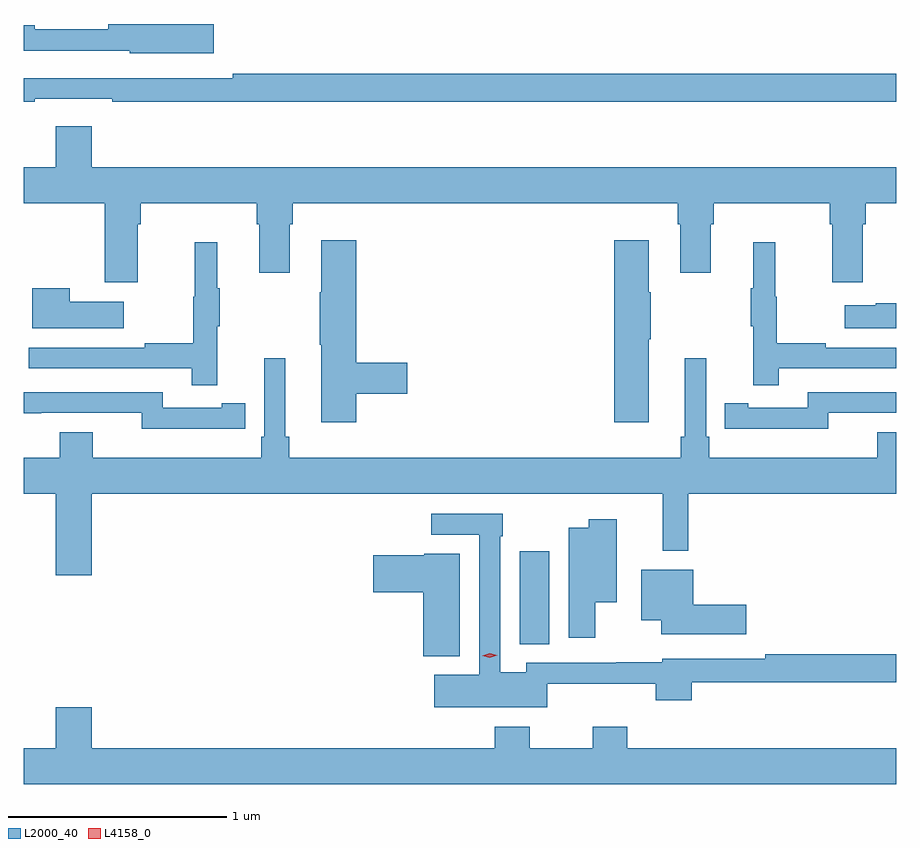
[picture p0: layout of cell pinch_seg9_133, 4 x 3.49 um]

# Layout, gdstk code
import gdstk
lib = gdstk.Library(unit=1e-6, precision=1e-09)
def R(c, l, rs):  # rectangles x0, y0, x1, y1
    for r in rs: c.add(gdstk.rectangle(r[:2], r[2:], *l))
def P(c, l, *ps):  # polygons
    for p in ps: c.add(gdstk.Polygon(p, *l))
L2000_40 = (2000, 40)
L4158_0 = (4158, 0)

pinch_seg9_133 = lib.new_cell('pinch_seg9_133')
R(pinch_seg9_133, L2000_40, [(778.523,1217.041,778.66,1217.467)])
P(pinch_seg9_133, L2000_40, [(777.121,1219.886),(776.636,1219.886),(776.636,1219.861),(776.3,1219.861),(776.3,1219.88),(776.25,1219.88),(776.25,1219.764),(776.736,1219.764),(776.736,1219.751),(777.121,1219.751)],
  [(776.3,1219.542),(776.656,1219.542),(776.656,1219.53),(780.25,1219.53),(780.25,1219.658),(777.208,1219.658),(777.208,1219.638),(776.25,1219.638),(776.25,1219.53),(776.3,1219.53)],
  [(776.773,1218.968),(776.786,1218.968),(776.786,1219.064),(777.317,1219.064),(777.317,1218.968),(777.329,1218.968),(777.329,1218.744),(777.469,1218.744),(777.469,1218.968),(777.482,1218.968),(777.482,1219.064),(779.249,1219.064),(779.249,1218.968),(779.261,1218.968),(779.261,1218.744),(779.401,1218.744),(779.401,1218.968),(779.414,1218.968),(779.414,1219.064),(779.945,1219.064),(779.945,1218.968),(779.957,1218.968),(779.957,1218.702),(780.097,1218.702),(780.097,1218.968),(780.11,1218.968),(780.11,1219.064),(780.25,1219.064),(780.25,1219.228),(776.56,1219.228),(776.56,1219.417),(776.396,1219.417),(776.396,1219.228),(776.25,1219.228),(776.25,1219.064),(776.621,1219.064),(776.621,1218.702),(776.773,1218.702)],
  [(779.116,1218.439),(779.124,1218.439),(779.124,1218.656),(779.116,1218.656),(779.116,1218.895),(778.958,1218.895),(778.958,1218.06),(779.116,1218.06)],
  [(777.773,1218.19),(778.009,1218.19),(778.009,1218.332),(777.773,1218.332),(777.773,1218.895),(777.614,1218.895),(777.614,1218.656),(777.607,1218.656),(777.607,1218.415),(777.614,1218.415),(777.614,1218.06),(777.773,1218.06)],
  [(779.711,1218.306),(780.25,1218.306),(780.25,1218.402),(779.927,1218.402),(779.927,1218.422),(779.704,1218.422),(779.704,1218.636),(779.696,1218.636),(779.696,1218.886),(779.594,1218.886),(779.594,1218.673),(779.583,1218.673),(779.583,1218.499),(779.594,1218.499),(779.594,1218.228),(779.711,1218.228)],
  [(777.137,1218.499),(777.148,1218.499),(777.148,1218.673),(777.137,1218.673),(777.137,1218.886),(777.034,1218.886),(777.034,1218.636),(777.027,1218.636),(777.027,1218.422),(776.803,1218.422),(776.803,1218.402),(776.271,1218.402),(776.271,1218.306),(777.019,1218.306),(777.019,1218.228),(777.137,1218.228)],
  [(776.707,1218.613),(776.459,1218.613),(776.459,1218.673),(776.288,1218.673),(776.288,1218.491),(776.707,1218.491)],
  [(780.25,1218.605),(780.158,1218.605),(780.158,1218.595),(780.015,1218.595),(780.015,1218.491),(780.25,1218.491)],
  [(779.18,1217.469),(779.297,1217.469),(779.297,1217.732),(780.25,1217.732),(780.25,1218.013),(780.164,1218.013),(780.164,1217.896),(779.393,1217.896),(779.393,1217.992),(779.379,1217.992),(779.379,1218.352),(779.282,1218.352),(779.282,1217.992),(779.263,1217.992),(779.263,1217.896),(777.467,1217.896),(777.467,1217.992),(777.448,1217.992),(777.448,1218.352),(777.351,1218.352),(777.351,1217.992),(777.338,1217.992),(777.338,1217.896),(776.566,1217.896),(776.566,1218.013),(776.414,1218.013),(776.414,1217.896),(776.25,1217.896),(776.25,1217.732),(776.396,1217.732),(776.396,1217.358),(776.56,1217.358),(776.56,1217.732),(779.18,1217.732)],
  [(779.94,1218.102),(780.25,1218.102),(780.25,1218.198),(779.844,1218.198),(779.844,1218.126),(779.572,1218.126),(779.572,1218.146),(779.464,1218.146),(779.464,1218.03),(779.572,1218.03),(779.572,1218.029),(779.94,1218.029)],
  [(777.158,1218.03),(777.266,1218.03),(777.266,1218.146),(777.158,1218.146),(777.158,1218.126),(776.886,1218.126),(776.886,1218.198),(776.25,1218.198),(776.25,1218.101),(776.33,1218.101),(776.33,1218.102),(776.79,1218.102),(776.79,1218.029),(777.158,1218.029)],
  [(778.65,1216.859),(779.147,1216.859),(779.147,1216.784),(779.312,1216.784),(779.312,1216.866),(780.25,1216.866),(780.25,1216.994),(779.65,1216.994),(779.65,1216.974),(779.178,1216.974),(779.178,1216.958),(778.966,1216.958),(778.966,1216.956),(778.554,1216.956),(778.554,1216.912),(778.434,1216.912),(778.434,1217.537),(778.447,1217.537),(778.447,1217.64),(778.119,1217.64),(778.119,1217.544),(778.338,1217.544),(778.338,1216.9),(778.131,1216.9),(778.131,1216.751),(778.65,1216.751)],
  [(778.87,1217.234),(778.969,1217.234),(778.969,1217.614),(778.84,1217.614),(778.84,1217.575),(778.748,1217.575),(778.748,1217.07),(778.87,1217.07)],
  [(778.249,1217.455),(778.086,1217.455),(778.086,1217.449),(777.852,1217.449),(777.852,1217.279),(778.082,1217.279),(778.082,1216.985),(778.249,1216.985)],
  [(779.563,1217.222),(779.32,1217.222),(779.32,1217.383),(779.081,1217.383),(779.081,1217.15),(779.174,1217.15),(779.174,1217.087),(779.563,1217.087)],
  [(780.25,1216.564),(779.018,1216.564),(779.018,1216.663),(778.858,1216.663),(778.858,1216.564),(778.569,1216.564),(778.569,1216.663),(778.409,1216.663),(778.409,1216.564),(776.56,1216.564),(776.56,1216.753),(776.396,1216.753),(776.396,1216.564),(776.25,1216.564),(776.25,1216.4),(780.25,1216.4)])
P(pinch_seg9_133, L4158_0, [(778.387,1216.98),(778.352,1216.989),(778.352,1216.989),(778.352,1216.989),(778.387,1216.999),(778.422,1216.99),(778.422,1216.99),(778.422,1216.99)])

lib.write_gds('pinch_seg9_133.gds')
